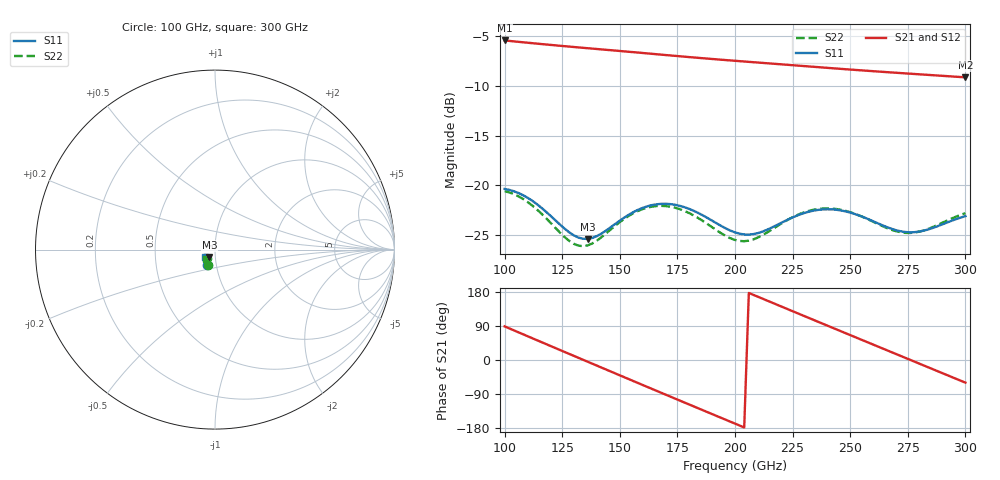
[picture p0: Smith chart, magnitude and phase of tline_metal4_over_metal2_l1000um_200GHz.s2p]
#  GHZ S DB R 50
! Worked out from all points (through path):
!   101 points, 100 GHz to 300 GHz, reference 50 ohm
!   highest |S21| = -5.41 dB at 100 GHz (marker M1); lowest = -9.1 dB at 300 GHz (marker M2)
!   group delay of S21, straight-line fit = 7.06 ps
!   lowest |S11| = -25.4 dB at 136 GHz (marker M3), VSWR 1.11, Z = 46.8 - j4.06 ohm
!   |S11| at or under -10 dB: start of sweep to end of sweep
!   |S22| runs from -26.2 to -20.6 dB; largest |S21 - S12| = 8e-14
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100  -20.39 -117.3  -5.41 88.7  -5.41 88.7  -20.61 -115.9
108  -21.01 -128.0  -5.59 67.9  -5.59 67.9  -21.39 -126.9
118  -22.68 -136.9  -5.82 42.0  -5.82 42.0  -23.33 -135.3
126  -24.38 -136.8  -5.99 21.3  -5.99 21.3  -25.23 -133.5
134  -25.41 -128.7  -6.15 0.7  -6.15 0.7  -26.15 -122.7
136  -25.42 -126.1  -6.19 -4.4  -6.19 -4.4  -26.08 -119.6
144  -24.59 -118.4  -6.35 -25.0  -6.35 -25.0  -24.87 -111.9
154  -22.97 -119.2  -6.55 -50.7  -6.55 -50.7  -23.08 -114.3
168  -21.89 -131.2  -6.84 -86.6  -6.84 -86.6  -22.09 -127.9
182  -22.58 -143.5  -7.12 -122.2  -7.12 -122.2  -23.04 -140.6
192  -23.85 -146.7  -7.31 -147.6  -7.31 -147.6  -24.55 -142.8
200  -24.77 -143.5  -7.46 -167.9  -7.46 -167.9  -25.53 -137.5
208  -24.94 -137.2  -7.60 171.8  -7.60 171.8  -25.47 -129.2
216  -24.28 -132.8  -7.74 151.6  -7.74 151.6  -24.48 -124.6
226  -23.16 -133.8  -7.92 126.3  -7.92 126.3  -23.12 -126.7
234  -22.58 -138.2  -8.06 106.1  -8.06 106.1  -22.48 -132.1
242  -22.44 -143.9  -8.21 85.9  -8.21 85.9  -22.36 -138.5
250  -22.77 -149.1  -8.34 65.8  -8.34 65.8  -22.73 -144.2
260  -23.65 -152.4  -8.51 40.6  -8.51 40.6  -23.70 -147.6
268  -24.41 -151.0  -8.64 20.5  -8.64 20.5  -24.51 -145.7
284  -24.46 -142.2  -8.88 -19.6  -8.88 -19.6  -24.40 -135.5
300  -23.13 -142.6  -9.13 -59.8  -9.13 -59.8  -22.83 -136.4
